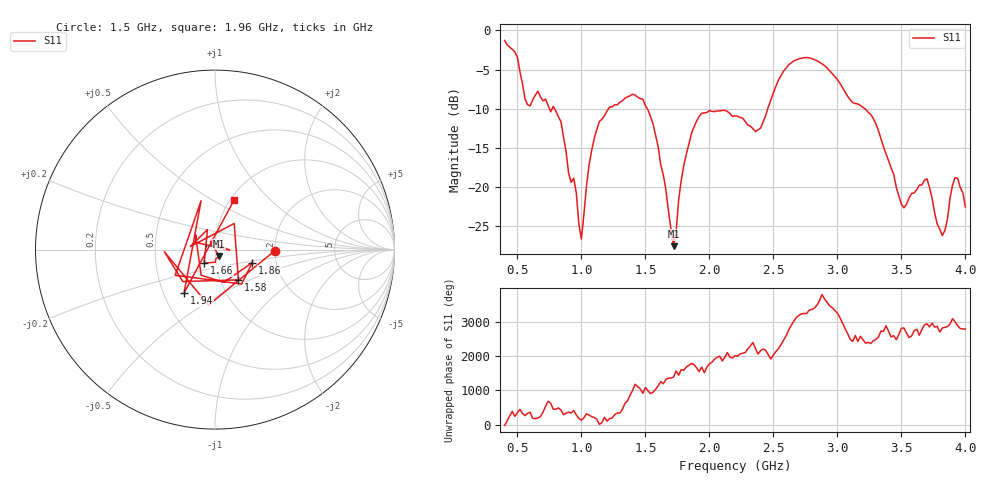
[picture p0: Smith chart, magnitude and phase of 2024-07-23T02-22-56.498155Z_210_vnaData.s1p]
!Created with skrf (http://scikit-rf.org).
# Hz S RI R 50.0
!freq ReS11 ImS11
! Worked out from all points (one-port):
!   181 points, 400 MHz to 4 GHz, reference 50 ohm
!   lowest |S11| = -27.5 dB at 1.72 GHz (marker M1), VSWR 1.09, Z = 52.1 - j3.72 ohm
!   |S11| at or under -10 dB: 790.5 MHz to 1.212 GHz (421.2 MHz wide, 42.1 % of centre); 1.515 GHz to 2.456 GHz (940.9 MHz wide, 47.4 % of centre); 3.216 GHz to end of sweep (the widest 3 of 4)
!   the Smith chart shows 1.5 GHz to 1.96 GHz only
!   S11 on the Smith chart (normalised r, x): 1.5 GHz: 1.99, -0.03; 1.58 GHz: 1.22, -0.43; 1.66 GHz: 0.88, -0.13; 1.86 GHz: 1.50, -0.23; 1.94 GHz: 0.64, -0.34; 1.96 GHz: 1.04, +0.64
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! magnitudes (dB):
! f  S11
! 400 MHz  -1.3
! 500 MHz  -3.4
! 580 MHz  -9.5
! 660 MHz  -7.8
! 860 MHz  -13.6
! 940 MHz  -18.9
! 1 GHz  -26.6
! 1.1 GHz  -13.8
! 1.3 GHz  -9.2
! 1.5 GHz  -9.6
! 1.58 GHz  -13.4
! 1.66 GHz  -20.3
! 1.72 GHz  -27.5
! 1.76 GHz  -21.6
! 1.86 GHz  -13.2
! 1.94 GHz  -10.6
! 1.96 GHz  -10.5
! 2.2 GHz  -10.9
! 2.4 GHz  -12.5
! 2.66 GHz  -3.9
! 3.1 GHz  -8.8
! 3.28 GHz  -11.2
! 3.5 GHz  -22.2
! 3.56 GHz  -21.4
! 3.7 GHz  -18.9
! 3.82 GHz  -26.2
! 3.92 GHz  -18.8
! 4 GHz  -22.5
